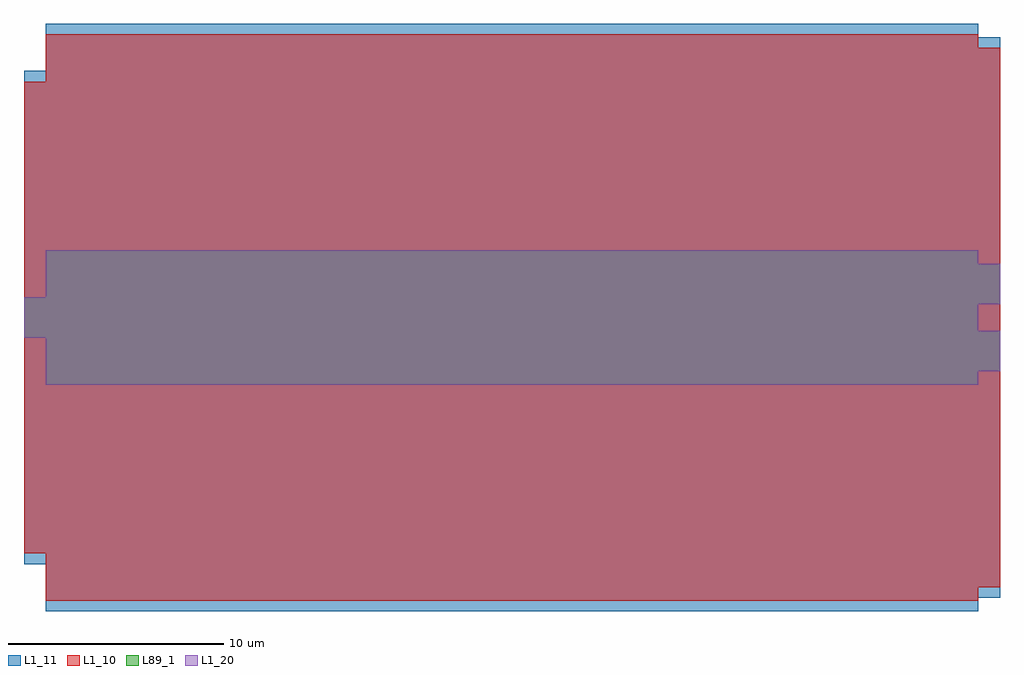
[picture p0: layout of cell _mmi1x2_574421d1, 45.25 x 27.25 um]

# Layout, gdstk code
import gdstk
lib = gdstk.Library(unit=1e-6, precision=1e-09)
def R(c, l, rs):  # rectangles x0, y0, x1, y1
    for r in rs: c.add(gdstk.rectangle(r[:2], r[2:], *l))
L1_10 = (1, 10)
L1_11 = (1, 11)
L1_20 = (1, 20)
L89_1 = (89, 1)

c__mmi1x2_574421d1 = lib.new_cell('_mmi1x2_574421d1')
R(c__mmi1x2_574421d1, L1_10, [(0,-13.125,43.25,13.125), (43.25,-12.5,44.25,9.375), (-1,-10.937,0,10.937), (43.25,-9.375,44.25,12.5)])
R(c__mmi1x2_574421d1, L1_11, [(0,-13.625,43.25,13.625), (43.25,-13,44.25,9.875), (-1,-11.437,0,11.437), (43.25,-9.875,44.25,13)])
R(c__mmi1x2_574421d1, L1_20, [(0,-3.125,43.25,3.125), (43.25,-2.5,44.25,-0.625), (-1,-0.937,0,0.937), (43.25,0.625,44.25,2.5)])
R(c__mmi1x2_574421d1, L89_1, [(0,-3.125,43.25,3.125), (43.25,-2.5,44.25,-0.625), (-1,-0.937,0,0.937), (43.25,0.625,44.25,2.5)])

lib.write_gds('_mmi1x2_574421d1.gds')
